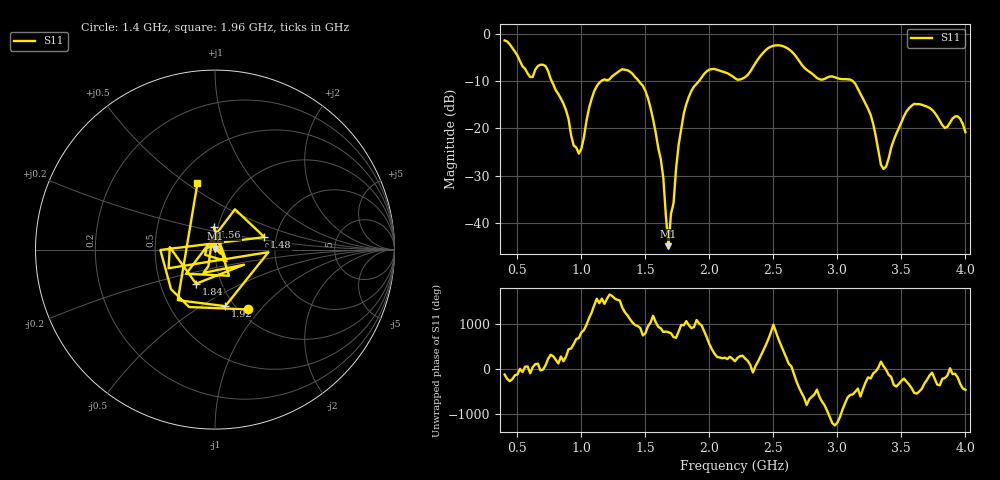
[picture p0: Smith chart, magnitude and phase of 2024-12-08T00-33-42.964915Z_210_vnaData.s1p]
!Created with skrf (http://scikit-rf.org).
# Hz S RI R 50.0
!freq ReS11 ImS11
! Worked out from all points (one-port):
!   181 points, 400 MHz to 4 GHz, reference 50 ohm
!   lowest |S11| = -45.0 dB at 1.68 GHz (marker M1), VSWR 1.01, Z = 50 + j0.562 ohm
!   |S11| at or under -10 dB: 769.2 MHz to 1.152 GHz (383 MHz wide, 39.9 % of centre); 1.45 GHz to 1.916 GHz (466 MHz wide, 27.7 % of centre); 3.123 GHz to end of sweep
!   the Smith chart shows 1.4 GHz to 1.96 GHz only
!   S11 on the Smith chart (normalised r, x): 1.4 GHz: 1.10, -0.85; 1.48 GHz: 1.74, +0.26; 1.56 GHz: 0.96, +0.24; 1.84 GHz: 0.76, -0.30; 1.92 GHz: 0.91, -0.64; 1.96 GHz: 0.64, +0.55
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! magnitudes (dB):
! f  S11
! 400 MHz  -1.3
! 600 MHz  -9.1
! 720 MHz  -6.8
! 860 MHz  -14.7
! 980 MHz  -25.3
! 1.1 GHz  -12.1
! 1.3 GHz  -7.7
! 1.4 GHz  -8.4
! 1.48 GHz  -10.9
! 1.56 GHz  -18.0
! 1.64 GHz  -30.5
! 1.68 GHz  -45.0
! 1.76 GHz  -23.4
! 1.84 GHz  -13.2
! 1.92 GHz  -9.9
! 1.96 GHz  -8.4
! 2.2 GHz  -9.3
! 2.48 GHz  -2.6
! 2.66 GHz  -4.1
! 2.86 GHz  -9.5
! 3.1 GHz  -9.6
! 3.26 GHz  -17.1
! 3.36 GHz  -28.6
! 3.56 GHz  -15.7
! 3.72 GHz  -15.6
! 3.84 GHz  -19.9
! 3.94 GHz  -17.4
! 4 GHz  -20.8
